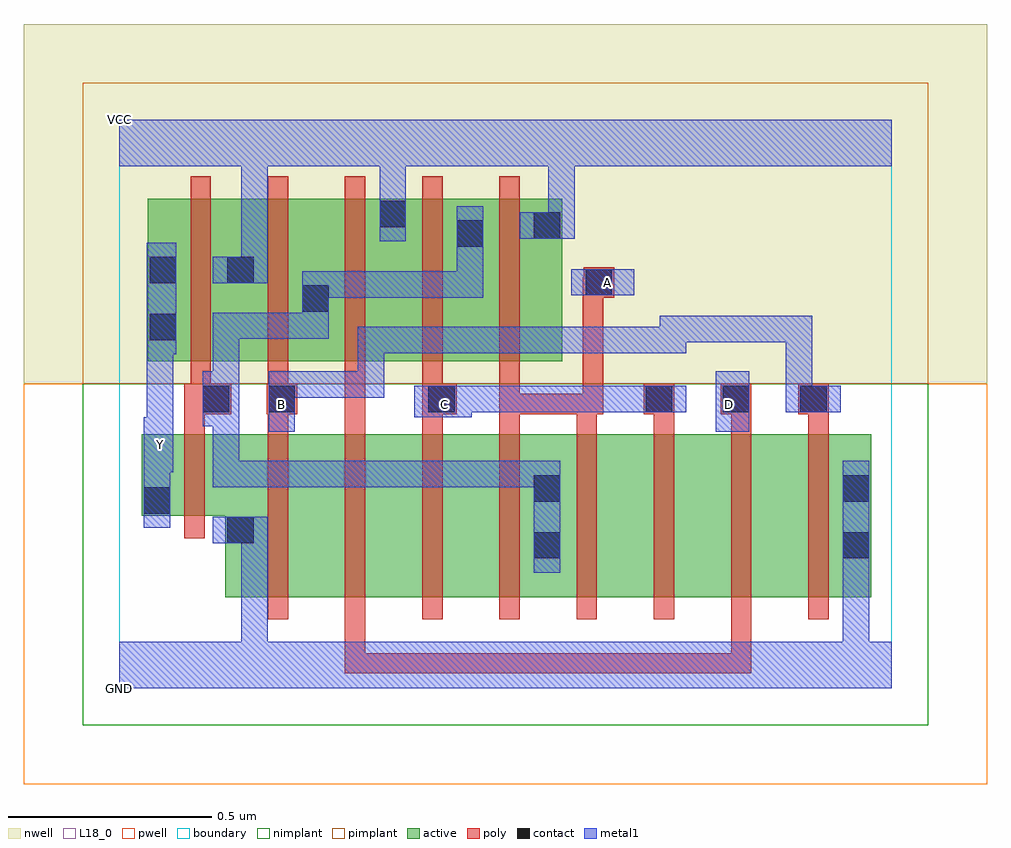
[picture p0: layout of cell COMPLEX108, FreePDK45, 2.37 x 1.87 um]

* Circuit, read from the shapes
.subckt COMPLEX108 A B C D GND VCC Y
M1 GND n1 Y VSUBS nfet w=0.2u l=0.05u
M2 n2 B GND VSUBS nfet w=0.4u l=0.05u
M3 n3 D n2 VSUBS nfet w=0.4u l=0.05u
M4 n4 C n3 VSUBS nfet w=0.4u l=0.05u
M5 n1 A n4 VSUBS nfet w=0.4u l=0.05u
M6 n5 A n1 VSUBS nfet w=0.4u l=0.05u
M7 n6 C n5 VSUBS nfet w=0.4u l=0.05u
M8 n7 D n6 VSUBS nfet w=0.4u l=0.05u
M9 GND B n7 VSUBS nfet w=0.4u l=0.05u
M10 VCC n1 Y n8 pfet w=0.4u l=0.05u
M11 n1 B VCC n8 pfet w=0.4u l=0.05u
M12 VCC D n1 n8 pfet w=0.4u l=0.05u
M13 n1 C VCC n8 pfet w=0.4u l=0.05u
M14 VCC A n1 n8 pfet w=0.4u l=0.05u
.ends

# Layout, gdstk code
import gdstk
lib = gdstk.Library(unit=1e-6, precision=1e-09)
def R(c, l, rs):  # rectangles x0, y0, x1, y1
    for r in rs: c.add(gdstk.rectangle(r[:2], r[2:], *l))
def A(c, l, x, y, w, h, nx, ny, dx, dy):  # array of equal rectangles
    R(c, l, [(x+i*dx, y+j*dy, x+i*dx+w, y+j*dy+h) for i in range(nx) for j in range(ny)])
active = (1, 0)
pwell = (2, 0)
nwell = (3, 0)
nimplant = (4, 0)
pimplant = (5, 0)
poly = (9, 0)
contact = (10, 0)
metal1 = (11, 0)
L18_0 = (18, 0)
boundary = (235, 0)

complex108 = lib.new_cell('COMPLEX108')
A(complex108, active, 0.445, 0.805, 0.265, 0.4, 3, 1, 0.19, 0)
R(complex108, active, [(0.26,0.225,0.485,0.625), (0.26,0.225,0.335,0.597), (0.485,0.225,0.675,0.625), (0.675,0.225,0.865,0.625), (0.865,0.225,1.09,0.625), (1.015,0.225,1.245,0.625), (1.245,0.225,1.435,0.625), (1.435,0.225,1.625,0.625), (1.625,0.225,1.85,0.625), (1.015,0.295,1.09,0.617), (1.775,0.295,1.85,0.625), (0.055,0.425,0.335,0.625), (0.055,0.425,0.13,0.625), (0.07,0.805,0.335,1.205), (0.07,0.805,0.145,1.2), (0.26,0.805,0.335,1.205), (0.26,0.805,0.52,1.205), (0.445,0.805,0.52,1.2), (1.015,0.805,1.09,1.205), (0.635,0.907,0.71,1.205), (0.825,0.907,0.9,1.2)])
R(complex108, pwell, [(-0.235,-0.235,2.135,0.75)])
R(complex108, nwell, [(-0.235,0.75,2.135,1.635)])
R(complex108, nimplant, [(-0.09,-0.09,1.99,0.75)])
R(complex108, pimplant, [(-0.09,0.75,1.99,1.49)])
A(complex108, poly, 0.365, 0.17, 0.05, 0.51, 8, 1, 0.19, 0)
A(complex108, poly, 0.365, 0.63, 0.05, 0.095, 8, 1, 0.19, 0)
A(complex108, poly, 1.29, 0.675, 0.075, 0.075, 3, 1, 0.19, 0)
A(complex108, poly, 0.175, 0.75, 0.05, 0.51, 5, 1, 0.19, 0)
R(complex108, poly, [(0.555,0.037,0.605,0.22), (0.555,0.037,0.605,0.087), (0.555,0.037,0.605,0.087), (0.555,0.037,0.605,0.087), (0.555,0.037,0.737,0.087), (0.687,0.037,0.737,0.087), (0.687,0.037,0.737,0.087), (0.687,0.037,0.737,0.087), (0.687,0.037,0.962,0.087), (0.912,0.037,0.962,0.087), (0.912,0.037,0.962,0.087), (0.912,0.037,0.962,0.087), (0.912,0.037,1.117,0.087), (1.067,0.037,1.117,0.087), (1.067,0.037,1.397,0.087), (1.347,0.037,1.397,0.087), (1.347,0.037,1.397,0.087), (1.347,0.037,1.397,0.087), (1.347,0.037,1.555,0.087), (1.505,0.037,1.555,0.22), (1.505,0.037,1.555,0.087), (1.505,0.037,1.555,0.087), (1.505,0.037,1.555,0.087), (0.16,0.37,0.21,0.68), (0.16,0.63,0.21,0.725), (0.16,0.675,0.275,0.75), (0.362,0.675,0.437,0.75), (0.555,0.675,0.605,0.725), (0.555,0.675,0.605,0.8), (0.745,0.675,0.83,0.75), (0.935,0.675,0.985,0.725), (0.935,0.675,1.175,0.725), (0.935,0.675,0.985,0.8), (1.125,0.675,1.175,0.725), (1.125,0.675,1.175,0.725), (1.125,0.675,1.19,0.725), (1.14,0.675,1.19,1.012), (0.175,0.7,0.225,0.8), (0.365,0.7,0.415,0.8), (0.745,0.7,0.795,0.8), (1.14,0.962,1.192,1.012), (1.142,0.962,1.217,1.037), (1.142,0.962,1.192,1.012)])
A(complex108, contact, 1.295, 0.68, 0.065, 0.065, 3, 1, 0.19, 0)
R(complex108, contact, [(1.02,0.32,1.085,0.385), (1.78,0.32,1.845,0.385), (0.265,0.357,0.33,0.422), (0.06,0.43,0.125,0.495), (1.02,0.46,1.085,0.525), (1.78,0.46,1.845,0.525), (0.205,0.68,0.27,0.745), (0.367,0.68,0.432,0.745), (0.76,0.68,0.825,0.745), (0.075,0.857,0.14,0.922), (0.45,0.927,0.515,0.992), (1.147,0.967,1.212,1.032), (0.075,0.997,0.14,1.062), (0.265,0.997,0.33,1.062), (0.83,1.087,0.895,1.152), (1.02,1.107,1.085,1.172), (0.64,1.135,0.705,1.2)])
R(complex108, metal1, [(0,0,1.9,0.115), (0.3,0.05,0.365,0.422), (1.78,0.05,1.845,0.35), (1.78,0.05,1.845,0.115), (1.78,0.05,1.845,0.115), (1.02,0.285,1.085,0.56), (1.78,0.285,1.845,0.56), (0.23,0.357,0.365,0.422), (0.3,0.357,0.365,0.422), (0.3,0.357,0.365,0.422), (0.06,0.395,0.125,0.53), (0.06,0.465,0.125,0.597), (0.23,0.495,0.295,0.56), (0.23,0.495,0.515,0.56), (0.23,0.495,0.295,0.71), (0.45,0.495,0.515,0.56), (0.45,0.495,0.515,0.56), (0.45,0.495,0.515,0.56), (0.45,0.495,0.652,0.56), (0.587,0.495,0.652,0.56), (0.587,0.495,0.652,0.56), (0.587,0.495,0.652,0.56), (0.587,0.495,0.79,0.56), (0.725,0.495,0.79,0.56), (0.725,0.495,0.79,0.56), (0.725,0.495,0.79,0.56), (0.725,0.495,1.032,0.56), (0.967,0.495,1.032,0.56), (0.967,0.495,1.085,0.56), (0.06,0.532,0.132,0.667), (0.067,0.602,0.132,0.887), (0.367,0.632,0.432,0.78), (1.467,0.632,1.55,0.78), (0.205,0.645,0.27,0.78), (0.205,0.645,0.295,0.71), (0.23,0.645,0.295,0.71), (0.23,0.645,0.295,0.925), (0.725,0.667,0.867,0.745), (0.802,0.68,0.867,0.745), (0.802,0.68,0.867,0.745), (0.802,0.68,1.04,0.745), (0.975,0.68,1.04,0.745), (0.975,0.68,1.04,0.745), (0.975,0.68,1.04,0.745), (0.975,0.68,1.177,0.745), (1.112,0.68,1.177,0.745), (1.112,0.68,1.177,0.745), (1.112,0.68,1.177,0.745), (1.112,0.68,1.325,0.745), (1.26,0.68,1.395,0.745), (1.64,0.68,1.705,0.745), (1.64,0.68,1.705,0.745), (1.64,0.68,1.775,0.745), (1.64,0.68,1.705,0.917), (0.367,0.715,0.432,0.78), (0.367,0.715,0.432,0.78), (0.367,0.715,0.652,0.78), (0.587,0.715,0.652,0.78), (0.587,0.715,0.652,0.78), (0.587,0.715,0.652,0.78), (0.587,0.715,0.652,0.89), (0.067,0.822,0.14,1.097), (0.587,0.825,0.652,0.89), (0.587,0.825,0.895,0.89), (0.83,0.825,0.895,0.89), (0.83,0.825,0.895,0.89), (0.83,0.825,0.895,0.89), (0.83,0.825,1.04,0.89), (0.975,0.825,1.04,0.89), (0.975,0.825,1.04,0.89), (0.975,0.825,1.04,0.89), (0.975,0.825,1.187,0.89), (1.122,0.825,1.187,0.89), (1.122,0.825,1.395,0.89), (1.33,0.825,1.395,0.89), (1.33,0.825,1.395,0.89), (1.33,0.825,1.395,0.917), (1.33,0.852,1.532,0.917), (1.467,0.852,1.532,0.917), (1.467,0.852,1.532,0.917), (1.467,0.852,1.532,0.917), (1.467,0.852,1.705,0.917), (1.64,0.852,1.705,0.917), (0.23,0.86,0.295,0.925), (0.23,0.86,0.515,0.925), (0.45,0.86,0.515,0.957), (0.45,0.892,0.515,0.957), (0.45,0.892,0.515,1.027), (0.45,0.962,0.515,1.027), (0.45,0.962,0.515,1.027), (0.45,0.962,0.652,1.027), (0.587,0.962,0.652,1.027), (0.587,0.962,0.652,1.027), (0.587,0.962,0.652,1.027), (0.587,0.962,0.895,1.027), (0.83,0.962,0.895,1.117), (1.112,0.967,1.267,1.032), (0.23,0.997,0.365,1.062), (0.3,0.997,0.365,1.35), (0.83,1.052,0.895,1.117), (0.83,1.052,0.895,1.187), (0.64,1.1,0.705,1.235), (0.985,1.107,1.12,1.172), (1.055,1.107,1.12,1.35), (0.64,1.17,0.705,1.35), (0,1.285,1.9,1.4)])
R(complex108, L18_0, [(0,0,1.9,0.115), (0.3,0.05,0.365,0.422), (1.78,0.05,1.845,0.115), (1.78,0.05,1.845,0.115), (1.78,0.05,1.845,0.35), (1.78,0.285,1.845,0.56), (0.23,0.357,0.365,0.422), (0.3,0.357,0.365,0.422), (0.3,0.357,0.365,0.422), (0.06,0.395,0.125,0.53), (0.06,0.465,0.125,0.597), (0.06,0.532,0.132,0.667), (0.067,0.567,0.132,0.632), (0.067,0.602,0.132,0.887), (0.367,0.632,0.432,0.78), (1.467,0.632,1.55,0.78), (0.367,0.667,0.432,0.732), (0.725,0.667,0.867,0.745), (0.767,0.667,0.832,0.732), (1.467,0.667,1.532,0.732), (0.802,0.68,0.867,0.745), (0.802,0.68,0.867,0.745), (0.802,0.68,1.04,0.745), (0.975,0.68,1.04,0.745), (0.975,0.68,1.04,0.745), (0.975,0.68,1.04,0.745), (0.975,0.68,1.177,0.745), (1.112,0.68,1.177,0.745), (1.112,0.68,1.177,0.745), (1.112,0.68,1.177,0.745), (1.112,0.68,1.325,0.745), (1.26,0.68,1.395,0.745), (1.64,0.68,1.705,0.745), (1.64,0.68,1.705,0.745), (1.64,0.68,1.775,0.745), (1.64,0.68,1.705,0.917), (0.367,0.715,0.432,0.78), (0.367,0.715,0.432,0.78), (0.367,0.715,0.652,0.78), (0.587,0.715,0.652,0.78), (0.587,0.715,0.652,0.78), (0.587,0.715,0.652,0.78), (0.587,0.715,0.652,0.89), (0.067,0.822,0.14,1.097), (0.587,0.825,0.652,0.89), (0.587,0.825,0.895,0.89), (0.83,0.825,0.895,0.89), (0.83,0.825,0.895,0.89), (0.83,0.825,0.895,0.89), (0.83,0.825,1.04,0.89), (0.975,0.825,1.04,0.89), (0.975,0.825,1.04,0.89), (0.975,0.825,1.04,0.89), (0.975,0.825,1.187,0.89), (1.122,0.825,1.187,0.89), (1.122,0.825,1.395,0.89), (1.33,0.825,1.395,0.89), (1.33,0.825,1.395,0.89), (1.33,0.825,1.395,0.917), (1.33,0.852,1.532,0.917), (1.467,0.852,1.532,0.917), (1.467,0.852,1.532,0.917), (1.467,0.852,1.532,0.917), (1.467,0.852,1.705,0.917), (1.64,0.852,1.705,0.917), (1.112,0.967,1.267,1.032), (1.167,0.967,1.232,1.032), (0.23,0.997,0.365,1.062), (0.3,0.997,0.365,1.35), (0.64,1.1,0.705,1.235), (0.985,1.107,1.12,1.172), (1.055,1.107,1.12,1.35), (0.64,1.17,0.705,1.35), (0,1.285,1.9,1.4)])
R(complex108, boundary, [(0,0,1.9,1.4)])
complex108.add(gdstk.Label('A', (1.2,1), layer=11, texttype=0))
complex108.add(gdstk.Label('B', (0.4,0.7), layer=11, texttype=0))
complex108.add(gdstk.Label('C', (0.8,0.7), layer=11, texttype=0))
complex108.add(gdstk.Label('D', (1.5,0.7), layer=11, texttype=0))
complex108.add(gdstk.Label('Y', (0.1,0.6), layer=11, texttype=0))
complex108.add(gdstk.Label('VCC', (0,1.4), layer=11, texttype=0))
complex108.add(gdstk.Label('GND', (0,0), layer=11, texttype=0))

lib.write_gds('COMPLEX108.gds')
